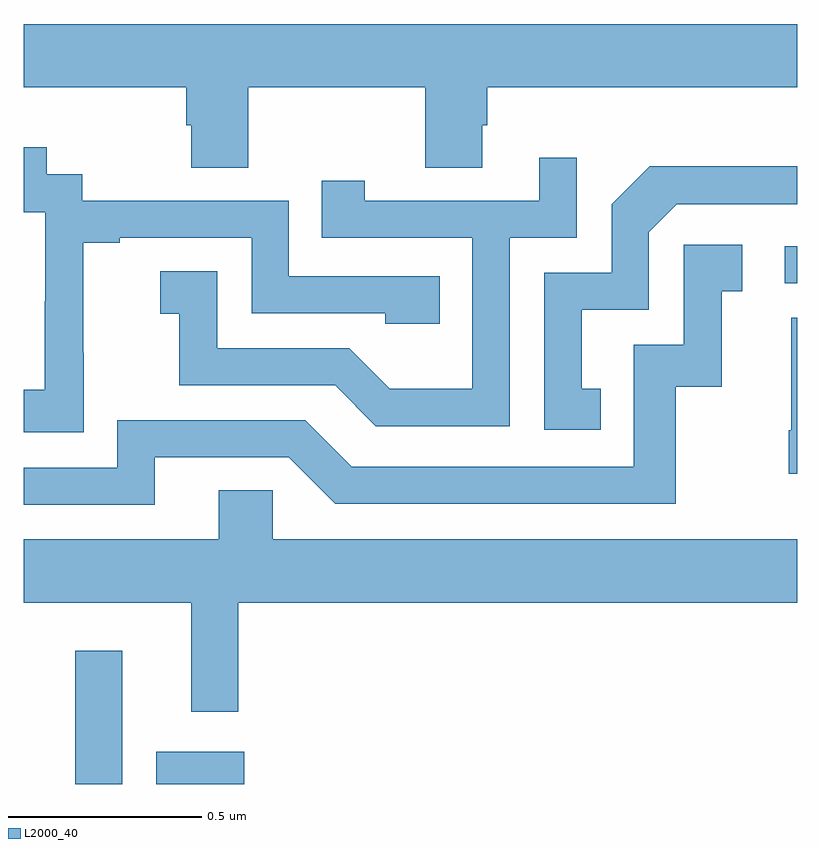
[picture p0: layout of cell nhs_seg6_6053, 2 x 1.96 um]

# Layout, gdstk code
import gdstk
lib = gdstk.Library(unit=1e-6, precision=1e-09)
def R(c, l, rs):  # rectangles x0, y0, x1, y1
    for r in rs: c.add(gdstk.rectangle(r[:2], r[2:], *l))
def P(c, l, *ps):  # polygons
    for p in ps: c.add(gdstk.Polygon(p, *l))
L2000_40 = (2000, 40)

nhs_seg6_6053 = lib.new_cell('nhs_seg6_6053')
R(nhs_seg6_6053, L2000_40, [(190.134,981.5,190.255,981.844), (190.343,981.5,190.57,981.583), (191.967,982.794,192,982.89)])
P(nhs_seg6_6053, L2000_40, [(190.581,983.3),(191.038,983.3),(191.038,983.092),(191.185,983.092),(191.185,983.202),(191.198,983.202),(191.198,983.3),(192,983.3),(192,983.464),(190,983.464),(190,983.3),(190.421,983.3),(190.421,983.202),(190.433,983.202),(190.433,983.092),(190.581,983.092)],
  [(190.155,982.615),(190.154,982.615),(190.154,982.899),(190.249,982.899),(190.249,982.911),(190.59,982.911),(190.59,982.716),(190.935,982.716),(190.935,982.689),(191.075,982.689),(191.075,982.812),(190.686,982.812),(190.686,983.007),(190.152,983.007),(190.152,983.076),(190.06,983.076),(190.06,983.146),(190,983.146),(190,982.977),(190.056,982.977),(190.056,982.748),(190.055,982.748),(190.055,982.519),(190,982.519),(190,982.409),(190.155,982.409)],
  [(191.256,982.911),(191.43,982.911),(191.43,983.119),(191.333,983.119),(191.333,983.007),(190.882,983.007),(190.882,983.059),(190.771,983.059),(190.771,982.911),(191.16,982.911),(191.16,982.522),(190.946,982.522),(190.842,982.626),(190.5,982.626),(190.5,982.825),(190.353,982.825),(190.353,982.715),(190.402,982.715),(190.402,982.53),(190.805,982.53),(190.91,982.425),(191.256,982.425)],
  [(191.492,982.521),(191.443,982.521),(191.443,982.725),(191.616,982.725),(191.616,982.926),(191.688,982.998),(192,982.998),(192,983.096),(191.618,983.096),(191.52,982.998),(191.52,982.821),(191.346,982.821),(191.346,982.416),(191.492,982.416)],
  [(190.339,982.344),(190.686,982.344),(190.806,982.224),(191.686,982.224),(191.686,982.527),(191.804,982.527),(191.804,982.773),(191.857,982.773),(191.857,982.894),(191.706,982.894),(191.706,982.635),(191.577,982.635),(191.577,982.32),(190.848,982.32),(190.728,982.44),(190.242,982.44),(190.242,982.317),(190,982.317),(190,982.221),(190.339,982.221)],
  [(192,982.705),(191.984,982.705),(191.984,982.414),(191.977,982.414),(191.977,982.302),(192,982.302)],
  [(190.555,981.968),(192,981.968),(192,982.132),(190.644,982.132),(190.644,982.259),(190.505,982.259),(190.505,982.132),(190,982.132),(190,981.968),(190.433,981.968),(190.433,981.687),(190.555,981.687)])

lib.write_gds('nhs_seg6_6053.gds')
